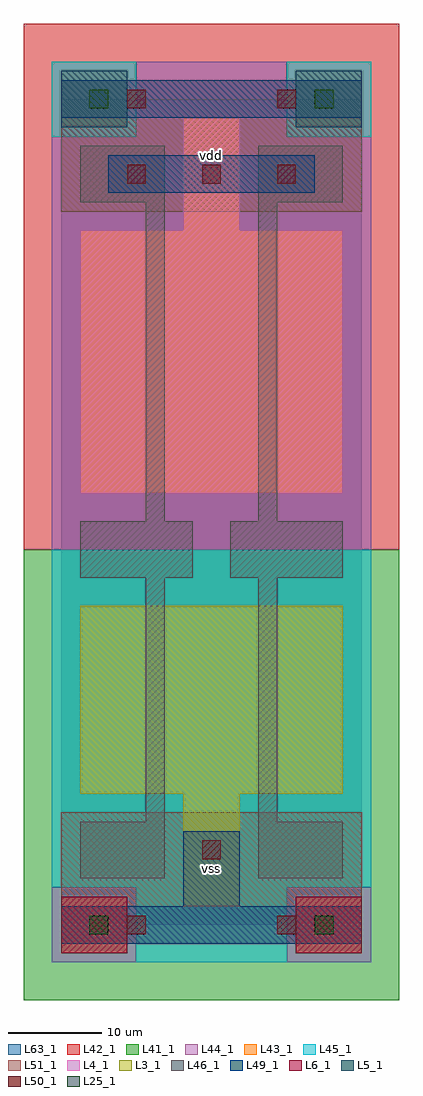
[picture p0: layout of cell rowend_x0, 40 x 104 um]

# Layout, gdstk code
import gdstk
lib = gdstk.Library(unit=1e-6, precision=1e-09)
def R(c, l, rs):  # rectangles x0, y0, x1, y1
    for r in rs: c.add(gdstk.rectangle(r[:2], r[2:], *l))
def A(c, l, x, y, w, h, nx, ny, dx, dy):  # array of equal rectangles
    R(c, l, [(x+i*dx, y+j*dy, x+i*dx+w, y+j*dy+h) for i in range(nx) for j in range(ny)])
L3_1 = (3, 1)
L4_1 = (4, 1)
L5_1 = (5, 1)
L6_1 = (6, 1)
L25_1 = (25, 1)
L41_1 = (41, 1)
L42_1 = (42, 1)
L43_1 = (43, 1)
L44_1 = (44, 1)
L45_1 = (45, 1)
L46_1 = (46, 1)
L49_1 = (49, 1)
L50_1 = (50, 1)
L51_1 = (51, 1)
L63_1 = (63, 1)

rowend_x0 = lib.new_cell('rowend_x0')
R(rowend_x0, L3_1, [(13,2,19,14), (2,14,30,34)])
R(rowend_x0, L4_1, [(2,46,30,74), (13,74,19,86)])
R(rowend_x0, L5_1, [(0,85,7,91), (25,85,32,91)])
R(rowend_x0, L6_1, [(0,-3,7,3), (0,-3,7,3), (25,-3,32,3), (25,-3,32,3)])
R(rowend_x0, L25_1, [(3,-1,5,1), (27,-1,29,1), (3,87,5,89), (27,87,29,89)])
R(rowend_x0, L41_1, [(-4,-8,36,40)])
R(rowend_x0, L42_1, [(-4,40,36,96)])
R(rowend_x0, L43_1, [(0,-3,7,3), (25,-3,32,3), (13,2,19,14), (2,14,30,34), (2,46,30,74), (13,74,19,86), (0,85,7,91), (25,85,32,91)])
R(rowend_x0, L44_1, [(-1,-4,8,4), (24,-4,33,4), (-1,40,33,84), (8,84,24,92)])
R(rowend_x0, L45_1, [(8,-4,24,4), (-1,4,33,40), (-1,84,8,92), (24,84,33,92)])
R(rowend_x0, L46_1, [(2,5,11,11), (21,5,30,11), (9,11,11,37), (21,11,23,37), (2,37,14,43), (18,37,30,43), (9,43,11,77), (21,43,23,77), (2,77,11,83), (21,77,30,83)])
R(rowend_x0, L49_1, [(0,-2,32,2), (13,2,19,10), (5,78,27,82), (0,86,32,90)])
A(rowend_x0, L50_1, 7, 79, 2, 2, 3, 1, 8, 0)
R(rowend_x0, L50_1, [(7,-1,9,1), (23,-1,25,1), (15,7,17,9), (7,87,9,89), (23,87,25,89)])
R(rowend_x0, L51_1, [(0,-2,32,12), (0,76,32,90)])
R(rowend_x0, L63_1, [(0,0,32,88)])
rowend_x0.add(gdstk.Label('vss', (16,6), layer=51, texttype=1))
rowend_x0.add(gdstk.Label('vdd', (16,82), layer=51, texttype=1))

lib.write_gds('rowend_x0.gds')
